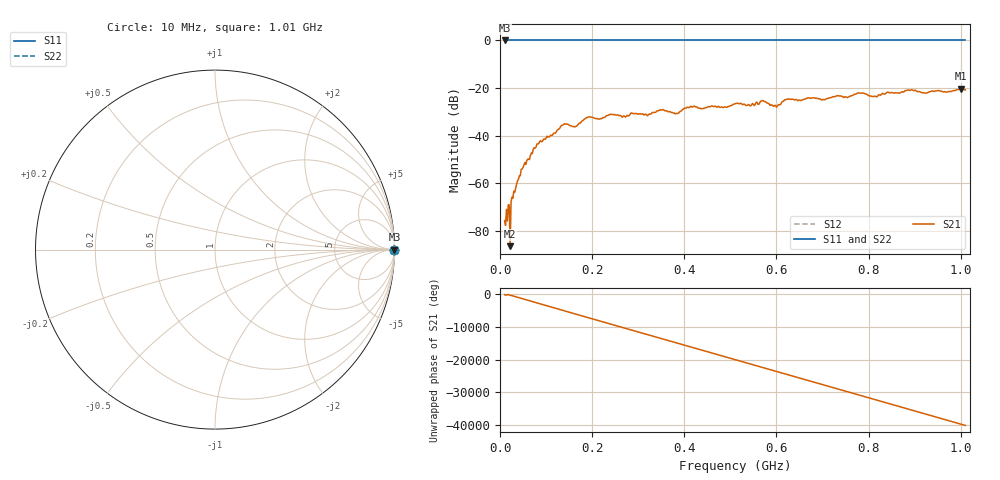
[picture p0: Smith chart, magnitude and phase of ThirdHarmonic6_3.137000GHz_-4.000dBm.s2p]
! 8/17/2025 9:21:10 AM
! C:\ANRITSUVNA\TEMP\TEMP.S2P
! CHANNEL.1
! TR.MEASUREMENT
! RAW.DATA
! RF.CORRECTION.OFF
! AVERAGING.OFF
! IF.BANDWIDTH: 5KHZ
! SWEEPTYPE:  FREQ.SWEEP(Linear)
! Reference Plane Port Info
! PORT:  PORT1  PORT2
! DISTANCE:  0  m  0  m
! TIME:  0  s  0  s
! PHASE.OFFSET:  0  deg.  0  deg.
! LOSS:  0  dB  0  dB
! REF.LOSS:  0  dB  0  dB
! REF.FREQ:  0  Hz  0  Hz
! Power Info
! POWER:  -20  dBm  -20  dBm
! EFF.POWER:  -20  dBm  -20  dBm
! SOURCE.ATTEN:  0  dB  0  dB
! TEST.ATTEN:  0  dB  0  dB
# GHZ S RI R 50.0
! FREQ.GHZ  S11RE  S11IM  S21RE  S21IM  S12RE  S12IM  S22RE  S22IM
!; PortSelection: Port_12
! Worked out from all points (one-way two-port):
!   501 points, 10 MHz to 1.01 GHz, reference 50 ohm
!   highest |S21| = -20.20 dB at 1 GHz (marker M1); lowest = -86.4 dB at 22 MHz (marker M2)
!   lowest |S11| = 0.0 dB at 10 MHz (marker M3)
!   |S11| at or under -10 dB: nowhere
!   |S22| runs from 0.0 to 0.0 dB; largest |S21 - S12| = 1.1
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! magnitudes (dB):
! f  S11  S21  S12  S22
! 10 MHz  0.0  -75.7  0.0  0.0
! 22 MHz  0.0  -86.4  0.0  0.0
! 50 MHz  0.0  -53.4  0.0  0.0
! 84 MHz  0.0  -43.3  0.0  0.0
! 136 MHz  0.0  -35.6  0.0  0.0
! 162 MHz  0.0  -36.3  0.0  0.0
! 178 MHz  0.0  -33.8  0.0  0.0
! 192 MHz  0.0  -32.2  0.0  0.0
! 322 MHz  0.0  -31.2  0.0  0.0
! 344 MHz  0.0  -29.5  0.0  0.0
! 384 MHz  0.0  -30.7  0.0  0.0
! 410 MHz  0.0  -28.2  0.0  0.0
! 510 MHz  0.0  -26.6  0.0  0.0
! 570 MHz  0.0  -25.2  0.0  0.0
! 598 MHz  0.0  -27.3  0.0  0.0
! 622 MHz  0.0  -24.7  0.0  0.0
! 678 MHz  0.0  -24.1  0.0  0.0
! 780 MHz  0.0  -22.0  0.0  0.0
! 814 MHz  0.0  -23.4  0.0  0.0
! 844 MHz  0.0  -21.9  0.0  0.0
! 1 GHz  0.0  -20.2  0.0  0.0
! 1.01 GHz  0.0  -20.7  0.0  0.0
